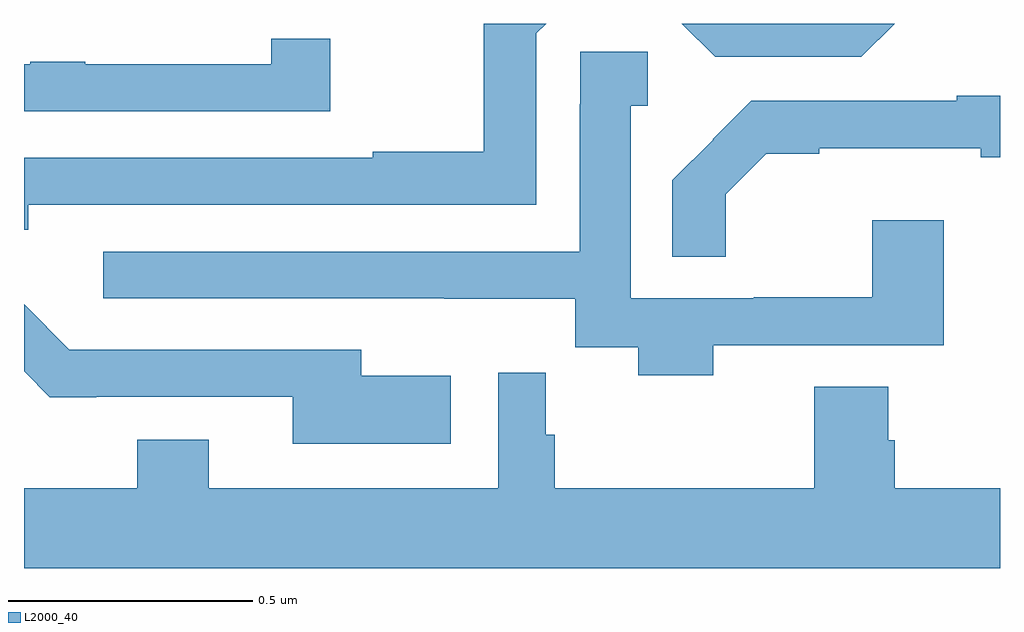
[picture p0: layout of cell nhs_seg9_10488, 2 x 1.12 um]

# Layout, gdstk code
import gdstk
lib = gdstk.Library(unit=1e-6, precision=1e-09)
def P(c, l, *ps):  # polygons
    for p in ps: c.add(gdstk.Polygon(p, *l))
L2000_40 = (2000, 40)

nhs_seg9_10488 = lib.new_cell('nhs_seg9_10488')
P(nhs_seg9_10488, L2000_40, [(243.009,1233.129),(244.05,1233.129),(244.05,1233.48),(244.07,1233.5),(243.942,1233.5),(243.942,1233.238),(243.715,1233.238),(243.715,1233.225),(243,1233.225),(243,1233.078),(243.009,1233.078)],
  [(244.784,1233.5),(244.348,1233.5),(244.416,1233.432),(244.716,1233.432)],
  [(243.628,1233.469),(243.507,1233.469),(243.507,1233.417),(243.125,1233.417),(243.125,1233.422),(243.013,1233.422),(243.013,1233.417),(243,1233.417),(243,1233.321),(243.628,1233.321)],
  [(244.412,1232.841),(244.885,1232.841),(244.885,1233.097),(244.738,1233.097),(244.738,1232.939),(244.495,1232.939),(244.495,1232.937),(244.243,1232.937),(244.243,1233.332),(244.278,1233.332),(244.278,1233.443),(244.14,1233.443),(244.14,1233.335),(244.139,1233.335),(244.139,1233.033),(243.162,1233.033),(243.162,1232.937),(243.861,1232.937),(243.861,1232.936),(244.13,1232.936),(244.13,1232.837),(244.259,1232.837),(244.259,1232.78),(244.412,1232.78)],
  [(244.438,1233.151),(244.521,1233.234),(244.63,1233.234),(244.63,1233.245),(244.961,1233.245),(244.961,1233.226),(245,1233.226),(245,1233.352),(244.911,1233.352),(244.911,1233.342),(244.49,1233.342),(244.411,1233.263),(244.412,1233.262),(244.328,1233.179),(244.328,1233.022),(244.438,1233.022)],
  [(243.874,1232.779),(243.691,1232.779),(243.691,1232.832),(243.093,1232.832),(243,1232.925),(243,1232.788),(243.053,1232.735),(243.148,1232.735),(243.148,1232.736),(243.551,1232.736),(243.551,1232.639),(243.874,1232.639)],
  [(245,1232.548),(244.784,1232.548),(244.784,1232.646),(244.771,1232.646),(244.771,1232.756),(244.619,1232.756),(244.619,1232.548),(244.088,1232.548),(244.088,1232.658),(244.069,1232.658),(244.069,1232.785),(243.972,1232.785),(243.972,1232.548),(243.379,1232.548),(243.379,1232.647),(243.232,1232.647),(243.232,1232.548),(243,1232.548),(243,1232.384),(245,1232.384)])

lib.write_gds('nhs_seg9_10488.gds')
